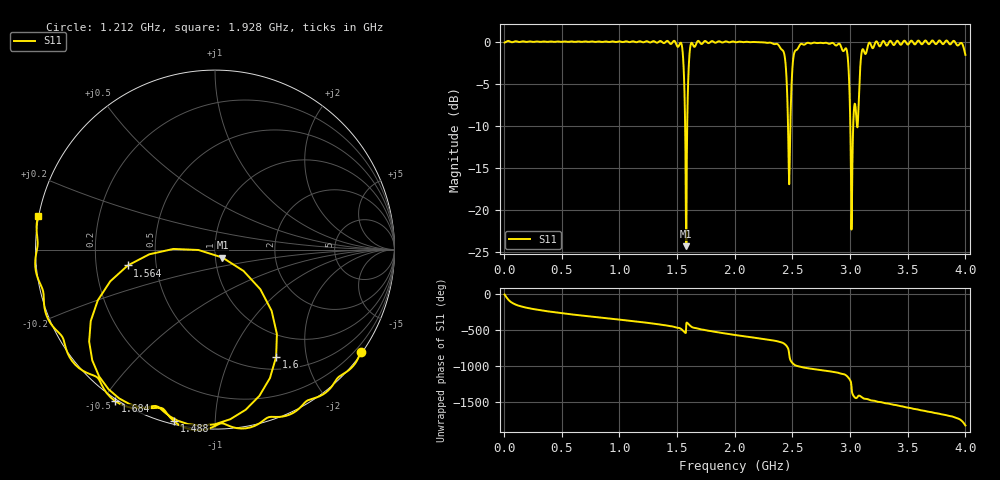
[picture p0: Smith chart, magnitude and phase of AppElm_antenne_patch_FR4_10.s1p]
! TOUCHSTONE file generated by CST MICROWAVE STUDIO
! Date and time: Tue Jun 14 12:33:52 2022
! Project name: AppElm_antenne_patch_FR4.cst
! Parameters = {L=45; W=58.5; e=0.035; h=1.6; lambda=0.190476; ls=120; w0=2.54; w1=1.01635; ws=120; y0=18; y1=23.8}
! Header version: 2018
! Port assignment regex: !\s*Touchstone port\s*([0-9]+)\s*=\s*(CST MWS port|CST DS port)\s*([0-9]+|Zmin|Zmax)\s*\(\"(.*)\"\)(\s*mode\s*([0-9]+))?.*
! Touchstone port assignment:
! Touchstone port 1 = CST MWS port 1 ("")
# GHz S MA R 50
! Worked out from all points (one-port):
!   1000 points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, 4 MHz to 4 GHz, reference 50 ohm
!   lowest |S11| = -24.4 dB at 1.58 GHz (marker M1), VSWR 1.13, Z = 54.1 - j4.8 ohm
!   |S11| at or under -10 dB: 1.569 GHz to 1.588 GHz (18.25 MHz wide, 1.16 % of centre); 2.462 GHz to 2.482 GHz (20.35 MHz wide, 0.823 % of centre); 3.002 GHz to 3.027 GHz (25.34 MHz wide, 0.841 % of centre)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
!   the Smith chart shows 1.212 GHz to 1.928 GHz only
!   S11 on the Smith chart (normalised r, x): 1.212 GHz: 0.04, -3.17; 1.488 GHz: 0.01, -0.79; 1.564 GHz: 0.34, -0.08; 1.6 GHz: 0.66, -1.51; 1.684 GHz: -0.01, -0.54; 1.928 GHz: -0.00, +0.09
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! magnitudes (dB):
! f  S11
! 4 MHz  -0.1
! 504 MHz  0.0
! 1.004 GHz  0.0
! 1.212 GHz  -0.1
! 1.488 GHz  -0.1
! 1.504 GHz  -0.6
! 1.544 GHz  -0.7
! 1.564 GHz  -6.1
! 1.58 GHz  -24.4
! 1.6 GHz  -3.2
! 1.62 GHz  -0.2
! 1.684 GHz  0.1
! 1.928 GHz  0.0
! 2.004 GHz  -0.1
! 2.408 GHz  -1.0
! 2.436 GHz  -2.1
! 2.46 GHz  -8.9
! 2.472 GHz  -17.0
! 2.484 GHz  -8.7
! 2.504 GHz  -2.4
! 2.576 GHz  -0.3
! 2.956 GHz  -0.9
! 2.98 GHz  -1.9
! 3.004 GHz  -11.6
! 3.028 GHz  -9.6
! 3.112 GHz  -0.9
! 3.504 GHz  -0.3
! 4 GHz  -1.6
